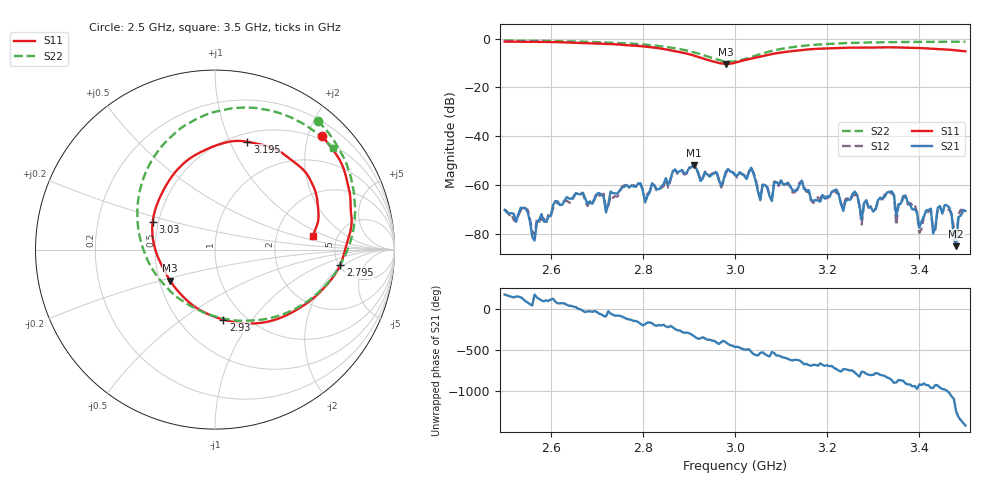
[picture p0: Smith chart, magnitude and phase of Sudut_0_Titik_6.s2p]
# Hz S RI R 50
! CMT, C1220, 16058040, 17.2.0/1
! Date: 15/08/2018 10:14:41
! Data: Format (Calibration Info)
! Freq  S11: Re/Im (F2)  S21: Re/Im (F2)  S12: Re/Im (F2)  S22: Re/Im (F2)
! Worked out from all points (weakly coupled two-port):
!   201 points, 2.5 GHz to 3.5 GHz, reference 50 ohm
!   highest |S21| = -51.80 dB at 2.91 GHz (marker M1); lowest = -84.9 dB at 3.48 GHz (marker M2)
!   lowest |S11| = -10.3 dB at 2.98 GHz (marker M3), VSWR 1.87, Z = 28.5 - j10.9 ohm
!   |S11| at or under -10 dB: 2.966 GHz to 2.997 GHz (31.36 MHz wide, 1.05 % of centre)
!   |S22| runs from -9.4 to -0.7 dB; largest |S21 - S12| = 0.00017
!   S11 on the Smith chart (normalised r, x): 2.5 GHz: 0.43, +2.25; 2.795 GHz: 5.12, -1.74; 2.93 GHz: 0.80, -0.74; 3.03 GHz: 0.46, +0.17; 3.195 GHz: 0.59, +1.16; 3.5 GHz: 3.27, +0.71
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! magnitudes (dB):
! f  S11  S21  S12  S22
! 2.5 GHz  -1.2  -70.1  -70.0  -0.7
! 2.565 GHz  -1.3  -82.6  -80.4  -0.9
! 2.67 GHz  -1.8  -63.2  -63.1  -1.2
! 2.72 GHz  -2.1  -71.2  -69.7  -1.5
! 2.795 GHz  -3.1  -59.2  -59.6  -2.3
! 2.835 GHz  -3.9  -61.7  -62.0  -3.0
! 2.91 GHz  -6.9  -51.8  -51.7  -5.6
! 2.93 GHz  -8.1  -57.2  -56.9  -6.7
! 2.98 GHz  -10.3  -54.4  -55.1  -9.3
! 3 GHz  -9.9  -55.7  -55.8  -9.3
! 3.03 GHz  -8.4  -54.8  -54.3  -7.9
! 3.17 GHz  -4.3  -66.4  -67.3  -2.6
! 3.195 GHz  -4.0  -65.5  -65.0  -2.2
! 3.265 GHz  -3.7  -63.8  -64.2  -1.7
! 3.275 GHz  -3.7  -74.1  -76.1  -1.6
! 3.335 GHz  -3.6  -62.7  -63.1  -1.4
! 3.35 GHz  -3.6  -72.6  -76.3  -1.4
! 3.37 GHz  -3.7  -64.2  -64.6  -1.4
! 3.4 GHz  -3.9  -77.4  -79.5  -1.3
! 3.46 GHz  -4.4  -68.2  -70.3  -1.3
! 3.48 GHz  -4.8  -84.9  -83.1  -1.3
! 3.5 GHz  -5.2  -70.5  -70.1  -1.3
